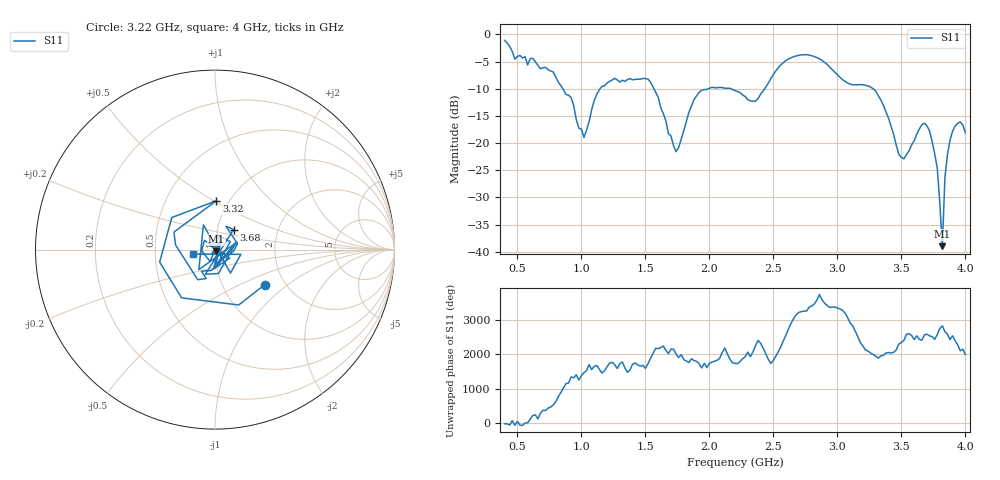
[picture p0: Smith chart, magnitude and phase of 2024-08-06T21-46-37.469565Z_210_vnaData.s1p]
!Created with skrf (http://scikit-rf.org).
# Hz S RI R 50.0
!freq ReS11 ImS11
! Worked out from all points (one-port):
!   181 points, 400 MHz to 4 GHz, reference 50 ohm
!   lowest |S11| = -39.0 dB at 3.82 GHz (marker M1), VSWR 1.02, Z = 50.7 - j0.897 ohm
!   |S11| at or under -10 dB: 854.9 MHz to 1.146 GHz (291.3 MHz wide, 29.1 % of centre); 1.566 GHz to 1.993 GHz (426.2 MHz wide, 24 % of centre); 3.28 GHz to end of sweep (the widest 3 of 4)
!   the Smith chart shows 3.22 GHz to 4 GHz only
!   S11 on the Smith chart (normalised r, x): 3.22 GHz: 1.58, -0.70; 3.32 GHz: 0.87, +0.51; 3.68 GHz: 1.20, +0.27; 4 GHz: 0.78, -0.04
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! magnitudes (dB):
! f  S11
! 400 MHz  -1.1
! 480 MHz  -4.6
! 620 MHz  -4.4
! 860 MHz  -10.2
! 920 MHz  -11.6
! 1.02 GHz  -19.0
! 1.14 GHz  -10.2
! 1.3 GHz  -8.8
! 1.52 GHz  -8.2
! 1.76 GHz  -20.8
! 1.92 GHz  -10.7
! 2.2 GHz  -10.3
! 2.36 GHz  -12.3
! 2.66 GHz  -4.1
! 2.86 GHz  -4.5
! 3.1 GHz  -9.2
! 3.22 GHz  -9.4
! 3.32 GHz  -11.3
! 3.48 GHz  -22.1
! 3.56 GHz  -21.4
! 3.68 GHz  -16.3
! 3.72 GHz  -17.8
! 3.78 GHz  -24.5
! 3.82 GHz  -39.0
! 3.84 GHz  -26.3
! 3.88 GHz  -19.5
! 3.96 GHz  -16.1
! 4 GHz  -18.1
